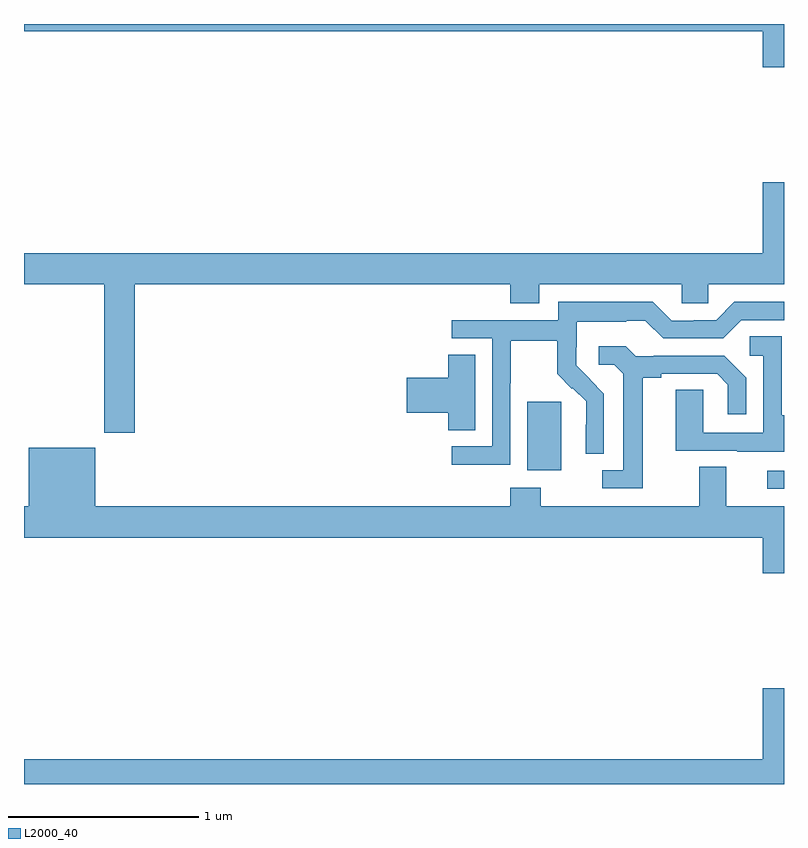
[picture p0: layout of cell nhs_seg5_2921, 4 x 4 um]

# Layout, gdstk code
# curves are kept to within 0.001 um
import gdstk
lib = gdstk.Library(unit=1e-6, precision=1e-09)
def R(c, l, rs):  # rectangles x0, y0, x1, y1
    for r in rs: c.add(gdstk.rectangle(r[:2], r[2:], *l))
def P(c, l, *ps):  # polygons
    for p in ps: c.add(gdstk.Polygon(p, *l))
L2000_40 = (2000, 40)

nhs_seg5_2921 = lib.new_cell('nhs_seg5_2921')
R(nhs_seg5_2921, L2000_40, [(284.913,854.352,285,854.448), (283.649,854.45,283.828,854.811)])
P(nhs_seg5_2921, L2000_40, [(285,856.799),(281,856.799),(281,856.76),(284.888,856.76),(284.888,856.572),(285,856.572)],
  [(281.582,855.428),(283.559,855.428),(283.559,855.329),(283.711,855.329),(283.711,855.428),(284.463,855.428),(284.463,855.33),(284.601,855.33),(284.601,855.428),(285,855.428),(285,855.967),(284.888,855.967),(284.888,855.592),(281,855.592),(281,855.428),(281.422,855.428),(281.422,854.649),(281.582,854.649)],
  [(283.56,854.908),(283.563,854.908),(283.563,855.132),(283.807,855.132),(283.807,854.957),(283.884,854.88),(283.887,854.883),(283.958,854.813),(283.958,854.69),(283.956,854.69),(283.956,854.536),(284.052,854.536),(284.052,854.854),(283.906,855.002),(283.906,855.099),(283.908,855.099),(283.908,855.233),(284.171,855.233),(284.171,855.237),(284.271,855.237),(284.364,855.144),(284.679,855.144),(284.775,855.24),(285,855.24),(285,855.336),(284.739,855.336),(284.643,855.24),(284.525,855.24),(284.525,855.237),(284.409,855.237),(284.309,855.337),(283.812,855.337),(283.812,855.24),(283.251,855.24),(283.251,855.144),(283.464,855.144),(283.464,854.577),(283.251,854.577),(283.251,854.479),(283.56,854.479)],
  [(285,854.739),(284.988,854.739),(284.988,855.155),(284.82,855.155),(284.82,855.054),(284.892,855.054),(284.892,854.649),(284.574,854.649),(284.574,854.873),(284.429,854.873),(284.429,854.553),(284.753,854.553),(284.753,854.549),(285,854.549)],
  [(284.257,854.936),(284.353,854.936),(284.353,854.958),(284.648,854.958),(284.705,854.901),(284.705,854.745),(284.802,854.745),(284.802,854.938),(284.686,855.054),(284.314,855.054),(284.314,855.051),(284.22,855.051),(284.168,855.103),(284.025,855.103),(284.025,855.006),(284.106,855.006),(284.153,854.959),(284.153,854.451),(284.043,854.451),(284.043,854.355),(284.257,854.355)],
  [(283.375,855.059),(283.232,855.059),(283.232,854.936),(283.014,854.936),(283.014,854.753),(283.232,854.753),(283.232,854.662),(283.375,854.662)],
  [(285,854.26),(284.695,854.26),(284.695,854.468),(284.555,854.468),(284.555,854.26),(283.719,854.26),(283.719,854.359),(283.559,854.359),(283.559,854.26),(281.374,854.26),(281.374,854.569),(281.024,854.569),(281.024,854.26),(281,854.26),(281,854.096),(284.888,854.096),(284.888,853.908),(285,853.908)],
  [(285,853.303),(284.888,853.303),(284.888,852.928),(281,852.928),(281,852.799),(285,852.799)])

lib.write_gds('nhs_seg5_2921.gds')
